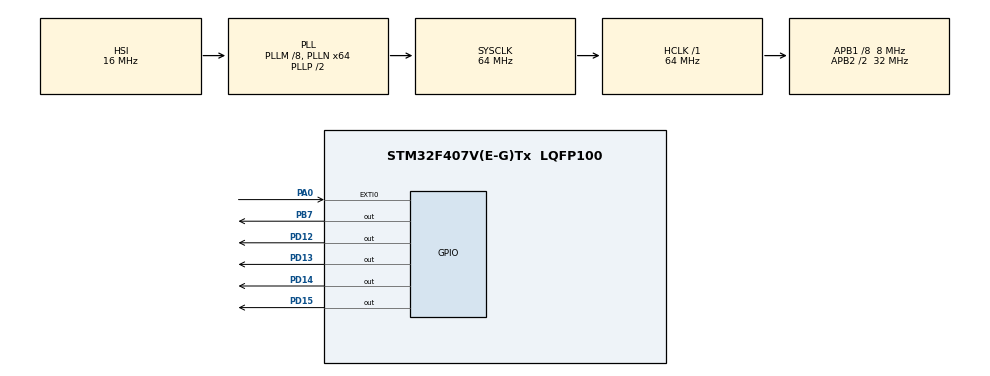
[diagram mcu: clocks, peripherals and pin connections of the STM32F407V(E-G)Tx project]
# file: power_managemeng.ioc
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Mcu.Family=STM32F4
Mcu.Name=STM32F407V(E-G)Tx
Mcu.Package=LQFP100
NVIC.EXTI0_IRQn=true\:0\:0\:false\:false\:true\:true\:true\:true
NVIC.PriorityGroup=NVIC_PRIORITYGROUP_0
NVIC.TIM7_IRQn=true\:0\:0\:false\:false\:true\:true\:true\:true
PA0-WKUP.Signal=GPXTI0
PB7.Signal=GPIO_Output
PD12.Signal=GPIO_Output
PD13.Signal=GPIO_Output
PD14.Signal=GPIO_Output
PD15.Signal=GPIO_Output
ProjectManager.HeapSize=0x200
ProjectManager.StackSize=0x400
ProjectManager.TargetToolchain=STM32CubeIDE
RCC.48MHZClocksFreq_Value=18285714.285714287
RCC.AHBFreq_Value=64000000
RCC.APB1CLKDivider=RCC_HCLK_DIV8
RCC.APB1Freq_Value=8000000
RCC.APB1TimFreq_Value=16000000
RCC.APB2CLKDivider=RCC_HCLK_DIV2
RCC.APB2Freq_Value=32000000
RCC.APB2TimFreq_Value=64000000
RCC.CortexFreq_Value=64000000
RCC.HCLKFreq_Value=64000000
RCC.HSE_VALUE=8000000
RCC.HSI_VALUE=16000000
RCC.LSE_VALUE=32768
RCC.PLLM=8
RCC.PLLN=64
RCC.PLLQ=7
RCC.SYSCLKFreq_VALUE=64000000
RCC.SYSCLKSource=RCC_SYSCLKSOURCE_PLLCLK
RCC.VCOOutputFreq_Value=128000000
VP_TIM7_VS_ClockSourceINT.Mode=Enable_Timer
board=STM32F407G-DISC1

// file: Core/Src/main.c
/* USER CODE BEGIN Header */
/**
  ******************************************************************************
  * @file           : main.c
  * @brief          : Main program body
  ******************************************************************************
  * @attention
  *
  * Copyright (c) 2024 STMicroelectronics.
  * All rights reserved.
  *
  * This software is licensed under terms that can be found in the LICENSE file
  * in the root directory of this software component.
  * If no LICENSE file comes with this software, it is provided AS-IS.
  *
  ******************************************************************************
  */
/* USER CODE END Header */
#include "main.h"

TIM_HandleTypeDef htim7;

/* USER CODE BEGIN PV */
uint8_t count;

/* USER CODE END PV */

void SystemClock_Config(void);
static void MX_GPIO_Init(void);
static void MX_TIM7_Init(void);
/* USER CODE BEGIN PFP */
void HAL_GPIO_EXTI_Callback(uint16_t GPIO_Pin);
/* USER CODE END PFP */

/* USER CODE BEGIN 0 */
void HAL_TIM_PeriodElapsedCallback(TIM_HandleTypeDef *htim)
{
  if (htim->Instance == TIM7)
  {
	 if(++count == 10)
	 {

		 HAL_GPIO_WritePin(GPIOD, GPIO_PIN_12, GPIO_PIN_SET);
		 HAL_Delay(2000);
		 // Suspend SysTick interrupt if needed
		 HAL_SuspendTick();
		 // Enter Sleep Mode
		 HAL_PWR_EnterSLEEPMode(PWR_MAINREGULATOR_ON, PWR_SLEEPENTRY_WFI);
		 // Resume SysTick interrupt
		 HAL_ResumeTick();
		 HAL_GPIO_TogglePin(GPIOD, GPIO_PIN_14);
         count = 0;
     }
  }
  //HAL_GPIO_WritePin(GPIOD, GPIO_PIN_12, GPIO_PIN_RESET);
}

/* USER CODE END 0 */

int main(void)
{

  /* MCU Configuration--------------------------------------------------------*/

  /* Reset of all peripherals, Initializes the Flash interface and the Systick. */
  HAL_Init();

  /* Configure the system clock */
  SystemClock_Config();

  /* Initialize all configured peripherals */
  MX_GPIO_Init();
  MX_TIM7_Init();
  /* USER CODE BEGIN 2 */
  HAL_TIM_Base_Start_IT(&htim7);
  HAL_GPIO_WritePin(GPIOD, GPIO_PIN_13, GPIO_PIN_SET);
  /* USER CODE END 2 */

  /* Infinite loop */
  while (1)
  {

  }
}

void SystemClock_Config(void)
{
  RCC_OscInitTypeDef RCC_OscInitStruct = {0};
  RCC_ClkInitTypeDef RCC_ClkInitStruct = {0};

  /** Configure the main internal regulator output voltage
  */
  __HAL_RCC_PWR_CLK_ENABLE();
  __HAL_PWR_VOLTAGESCALING_CONFIG(PWR_REGULATOR_VOLTAGE_SCALE1);

  /** Initializes the RCC Oscillators according to the specified parameters
  * in the RCC_OscInitTypeDef structure.
  */
  RCC_OscInitStruct.OscillatorType = RCC_OSCILLATORTYPE_HSI;
  RCC_OscInitStruct.HSIState = RCC_HSI_ON;
  RCC_OscInitStruct.HSICalibrationValue = RCC_HSICALIBRATION_DEFAULT;
  RCC_OscInitStruct.PLL.PLLState = RCC_PLL_ON;
  RCC_OscInitStruct.PLL.PLLSource = RCC_PLLSOURCE_HSI;
  RCC_OscInitStruct.PLL.PLLM = 8;
  RCC_OscInitStruct.PLL.PLLN = 64;
  RCC_OscInitStruct.PLL.PLLP = RCC_PLLP_DIV2;
  RCC_OscInitStruct.PLL.PLLQ = 7;
  if (HAL_RCC_OscConfig(&RCC_OscInitStruct) != HAL_OK)
  {
    Error_Handler();
  }

  /** Initializes the CPU, AHB and APB buses clocks
  */
  RCC_ClkInitStruct.ClockType = RCC_CLOCKTYPE_HCLK|RCC_CLOCKTYPE_SYSCLK
                              |RCC_CLOCKTYPE_PCLK1|RCC_CLOCKTYPE_PCLK2;
  RCC_ClkInitStruct.SYSCLKSource = RCC_SYSCLKSOURCE_PLLCLK;
  RCC_ClkInitStruct.AHBCLKDivider = RCC_SYSCLK_DIV1;
  RCC_ClkInitStruct.APB1CLKDivider = RCC_HCLK_DIV8;
  RCC_ClkInitStruct.APB2CLKDivider = RCC_HCLK_DIV2;

  if (HAL_RCC_ClockConfig(&RCC_ClkInitStruct, FLASH_LATENCY_2) != HAL_OK)
  {
    Error_Handler();
  }
}

static void MX_TIM7_Init(void)
{

  TIM_MasterConfigTypeDef sMasterConfig = {0};

  htim7.Instance = TIM7;
  htim7.Init.Prescaler = 1000-1;
  htim7.Init.CounterMode = TIM_COUNTERMODE_UP;
  htim7.Init.Period = 16000;
  htim7.Init.AutoReloadPreload = TIM_AUTORELOAD_PRELOAD_DISABLE;
  if (HAL_TIM_Base_Init(&htim7) != HAL_OK)
  {
    Error_Handler();
  }
  sMasterConfig.MasterOutputTrigger = TIM_TRGO_RESET;
  sMasterConfig.MasterSlaveMode = TIM_MASTERSLAVEMODE_DISABLE;
  if (HAL_TIMEx_MasterConfigSynchronization(&htim7, &sMasterConfig) != HAL_OK)
  {
    Error_Handler();
  }

}

static void MX_GPIO_Init(void)
{
  GPIO_InitTypeDef GPIO_InitStruct = {0};

  /* GPIO Ports Clock Enable */
  __HAL_RCC_GPIOA_CLK_ENABLE();
  __HAL_RCC_GPIOD_CLK_ENABLE();
  __HAL_RCC_GPIOB_CLK_ENABLE();

  /*Configure GPIO pin Output Level */
  HAL_GPIO_WritePin(GPIOD, GPIO_PIN_12|GPIO_PIN_13|GPIO_PIN_14|GPIO_PIN_15, GPIO_PIN_RESET);

  /*Configure GPIO pin Output Level */
  HAL_GPIO_WritePin(GPIOB, GPIO_PIN_7, GPIO_PIN_RESET);

  /*Configure GPIO pin : PA0 */
  GPIO_InitStruct.Pin = GPIO_PIN_0;
  GPIO_InitStruct.Mode = GPIO_MODE_IT_RISING;
  GPIO_InitStruct.Pull = GPIO_NOPULL;
  HAL_GPIO_Init(GPIOA, &GPIO_InitStruct);

  /*Configure GPIO pins : PD12 PD13 PD14 PD15 */
  GPIO_InitStruct.Pin = GPIO_PIN_12|GPIO_PIN_13|GPIO_PIN_14|GPIO_PIN_15;
  GPIO_InitStruct.Mode = GPIO_MODE_OUTPUT_PP;
  GPIO_InitStruct.Pull = GPIO_NOPULL;
  GPIO_InitStruct.Speed = GPIO_SPEED_FREQ_LOW;
  HAL_GPIO_Init(GPIOD, &GPIO_InitStruct);

  /*Configure GPIO pin : PB7 */
  GPIO_InitStruct.Pin = GPIO_PIN_7;
  GPIO_InitStruct.Mode = GPIO_MODE_OUTPUT_PP;
  GPIO_InitStruct.Pull = GPIO_NOPULL;
  GPIO_InitStruct.Speed = GPIO_SPEED_FREQ_LOW;
  HAL_GPIO_Init(GPIOB, &GPIO_InitStruct);

  /* EXTI interrupt init*/
  HAL_NVIC_SetPriority(EXTI0_IRQn, 0, 0);
  HAL_NVIC_EnableIRQ(EXTI0_IRQn);

}

/* USER CODE BEGIN 4 */
void HAL_GPIO_EXTI_Callback(uint16_t GPIO_Pin) {
  // Check if EXTI line 0 is asserted
  if (GPIO_Pin == GPIO_PIN_0) {
    HAL_GPIO_TogglePin(GPIOD, GPIO_PIN_15); // Toggle LED to indicate interrupt
  }
}
/* USER CODE END 4 */

void Error_Handler(void)
{
  __disable_irq();
  while (1)
  {
  }
}
